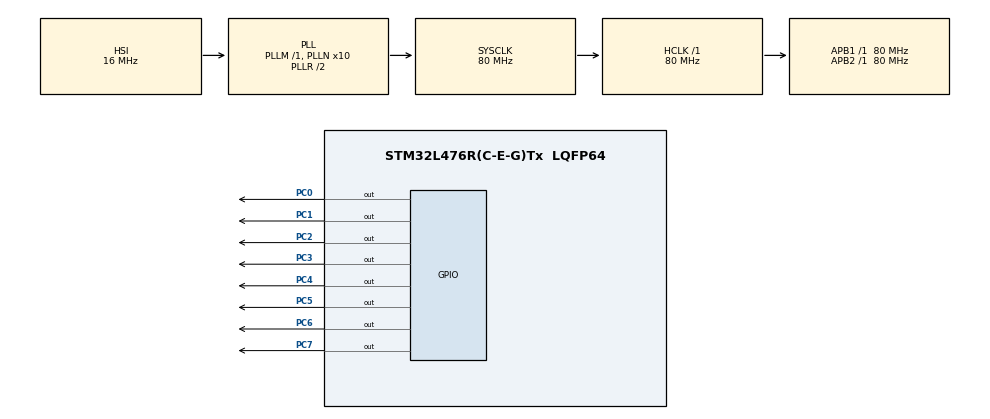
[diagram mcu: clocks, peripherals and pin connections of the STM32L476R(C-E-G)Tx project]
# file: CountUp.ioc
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Mcu.Family=STM32L4
Mcu.Name=STM32L476R(C-E-G)Tx
Mcu.Package=LQFP64
NVIC.PriorityGroup=NVIC_PRIORITYGROUP_4
PC0.Signal=GPIO_Output
PC1.Signal=GPIO_Output
PC2.Signal=GPIO_Output
PC3.Signal=GPIO_Output
PC4.Signal=GPIO_Output
PC5.Signal=GPIO_Output
PC6.Signal=GPIO_Output
PC7.Signal=GPIO_Output
ProjectManager.HeapSize=0x200
ProjectManager.StackSize=0x400
ProjectManager.TargetToolchain=STM32CubeIDE
RCC.ADCFreq_Value=64000000
RCC.AHBFreq_Value=80000000
RCC.APB1Freq_Value=80000000
RCC.APB1TimFreq_Value=80000000
RCC.APB2Freq_Value=80000000
RCC.APB2TimFreq_Value=80000000
RCC.CortexFreq_Value=80000000
RCC.HCLKFreq_Value=80000000
RCC.HSE_VALUE=8000000
RCC.HSI_VALUE=16000000
RCC.LSE_VALUE=32768
RCC.MSI_VALUE=4000000
RCC.PLLN=10
RCC.PLLSourceVirtual=RCC_PLLSOURCE_HSI
RCC.SYSCLKFreq_VALUE=80000000
RCC.SYSCLKSource=RCC_SYSCLKSOURCE_PLLCLK
RCC.USBFreq_Value=64000000
RCC.VCOOutputFreq_Value=160000000
board=custom

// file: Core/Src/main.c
/* USER CODE BEGIN Header */
/**
  ******************************************************************************
  * @file           : main.c
  * @brief          : Main program body
  ******************************************************************************
  * @attention
  *
  * <h2><center>&copy; Copyright (c) 2021 STMicroelectronics.
  * All rights reserved.</center></h2>
  *
  * This software component is licensed by ST under BSD 3-Clause license,
  * the "License"; You may not use this file except in compliance with the
  * License. You may obtain a copy of the License at:
  *                        opensource.org/licenses/BSD-3-Clause
  *
  ******************************************************************************
  */
/* USER CODE END Header */
#include "main.h"
#include <math.h>

/* USER CODE BEGIN PD */
#define led0 GPIO_PIN_0
#define led1 GPIO_PIN_1
#define led2 GPIO_PIN_2
#define led3 GPIO_PIN_3
#define led4 GPIO_PIN_4
#define led5 GPIO_PIN_5
#define led6 GPIO_PIN_6
#define led7 GPIO_PIN_7
int LEDS[] = {led0, led1, led2, led3, led4, led5, led6, led7};
/* USER CODE END PD */

void SystemClock_Config(void);
static void MX_GPIO_Init(void);

/* USER CODE BEGIN 0 */

/**
 * Group the port pins together.
 * L is the number of bits
 * No is the data to be displayed
 */
void display(int No, int L) {
	int j, m, i;
	m = L - 1;

	for (i = 0; i < L; i++) {
		j = pow(2.0, m);
		if ((No & j) != 0) {
			HAL_GPIO_WritePin(GPIOC, LEDS[i], GPIO_PIN_SET);
		}
		else {
			HAL_GPIO_WritePin(GPIOC, LEDS[i], GPIO_PIN_RESET);
		}
		m--;
	}
}

/* USER CODE END 0 */

int main(void)
{
  /* USER CODE BEGIN 1 */
	int count = 0;

  /* USER CODE END 1 */

  /* MCU Configuration--------------------------------------------------------*/

  /* Reset of all peripherals, Initializes the Flash interface and the Systick. */
  HAL_Init();

  /* Configure the system clock */
  SystemClock_Config();

  /* Initialize all configured peripherals */
  MX_GPIO_Init();

  /* Infinite loop */
  while (1)
  {
  	display(count, 8);	// Display Count
  	if (count == 255)		// If 255 reset to 0
  		count = 0;
  	else								// If not 255 increment count
  		count++;
  	HAL_Delay(1000);		// Wait one second

  }
}

void SystemClock_Config(void)
{
  RCC_OscInitTypeDef RCC_OscInitStruct = {0};
  RCC_ClkInitTypeDef RCC_ClkInitStruct = {0};

  /** Configure the main internal regulator output voltage
  */
  if (HAL_PWREx_ControlVoltageScaling(PWR_REGULATOR_VOLTAGE_SCALE1) != HAL_OK)
  {
    Error_Handler();
  }
  /** Initializes the RCC Oscillators according to the specified parameters
  * in the RCC_OscInitTypeDef structure.
  */
  RCC_OscInitStruct.OscillatorType = RCC_OSCILLATORTYPE_HSI;
  RCC_OscInitStruct.HSIState = RCC_HSI_ON;
  RCC_OscInitStruct.HSICalibrationValue = RCC_HSICALIBRATION_DEFAULT;
  RCC_OscInitStruct.PLL.PLLState = RCC_PLL_ON;
  RCC_OscInitStruct.PLL.PLLSource = RCC_PLLSOURCE_HSI;
  RCC_OscInitStruct.PLL.PLLM = 1;
  RCC_OscInitStruct.PLL.PLLN = 10;
  RCC_OscInitStruct.PLL.PLLP = RCC_PLLP_DIV7;
  RCC_OscInitStruct.PLL.PLLQ = RCC_PLLQ_DIV2;
  RCC_OscInitStruct.PLL.PLLR = RCC_PLLR_DIV2;
  if (HAL_RCC_OscConfig(&RCC_OscInitStruct) != HAL_OK)
  {
    Error_Handler();
  }
  /** Initializes the CPU, AHB and APB buses clocks
  */
  RCC_ClkInitStruct.ClockType = RCC_CLOCKTYPE_HCLK|RCC_CLOCKTYPE_SYSCLK
                              |RCC_CLOCKTYPE_PCLK1|RCC_CLOCKTYPE_PCLK2;
  RCC_ClkInitStruct.SYSCLKSource = RCC_SYSCLKSOURCE_PLLCLK;
  RCC_ClkInitStruct.AHBCLKDivider = RCC_SYSCLK_DIV1;
  RCC_ClkInitStruct.APB1CLKDivider = RCC_HCLK_DIV1;
  RCC_ClkInitStruct.APB2CLKDivider = RCC_HCLK_DIV1;

  if (HAL_RCC_ClockConfig(&RCC_ClkInitStruct, FLASH_LATENCY_4) != HAL_OK)
  {
    Error_Handler();
  }
}

static void MX_GPIO_Init(void)
{
  GPIO_InitTypeDef GPIO_InitStruct = {0};

  /* GPIO Ports Clock Enable */
  __HAL_RCC_GPIOC_CLK_ENABLE();

  /*Configure GPIO pin Output Level */
  HAL_GPIO_WritePin(GPIOC, GPIO_PIN_0|GPIO_PIN_1|GPIO_PIN_2|GPIO_PIN_3
                          |GPIO_PIN_4|GPIO_PIN_5|GPIO_PIN_6|GPIO_PIN_7, GPIO_PIN_RESET);

  /*Configure GPIO pins : PC0 PC1 PC2 PC3
                           PC4 PC5 PC6 PC7 */
  GPIO_InitStruct.Pin = GPIO_PIN_0|GPIO_PIN_1|GPIO_PIN_2|GPIO_PIN_3
                          |GPIO_PIN_4|GPIO_PIN_5|GPIO_PIN_6|GPIO_PIN_7;
  GPIO_InitStruct.Mode = GPIO_MODE_OUTPUT_PP;
  GPIO_InitStruct.Pull = GPIO_NOPULL;
  GPIO_InitStruct.Speed = GPIO_SPEED_FREQ_LOW;
  HAL_GPIO_Init(GPIOC, &GPIO_InitStruct);

}

void Error_Handler(void)
{
  __disable_irq();
  while (1)
  {
  }
}

/************************ (C) COPYRIGHT STMicroelectronics *****END OF FILE****/
